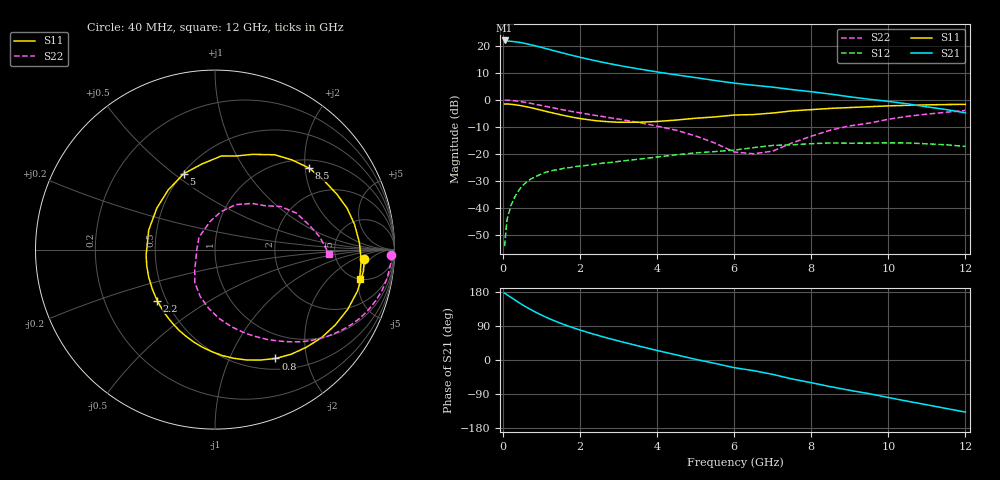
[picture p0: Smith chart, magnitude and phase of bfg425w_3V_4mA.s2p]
! Filename: 34bfg425.001
! BFG425W Field C1
! V1=8.204E-001V,V2=3.000E+000V, I1=4.819E-005A, I2=4.000E-003A
# GHz  S  MA  R 50
!  S11  S21  S12  S22
!Freq(GHz)  Mag  Ang  Mag  Ang  Mag  Ang  Mag  Ang
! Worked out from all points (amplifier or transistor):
!   44 points, 40 MHz to 12 GHz, reference 50 ohm
!   highest |S21| = 21.9 dB at 40 MHz (marker M1)
!   |S21| within 3 dB of that: start of sweep to 1.115 GHz
!   unconditionally stable (mu >= 1): 2.635 GHz to end of sweep
!   at 700 MHz: K = 0.29, MSG = 24.9 dB, |S12| = -29.4 dB
!   at 2.4 GHz: K = 0.93, MSG = 19.1 dB, |S12| = -23.7 dB
!   at 12 GHz: K = 1.55, MAG = 1.8 dB, |S12| = -17.2 dB
!   S11 on the Smith chart (normalised r, x): 40 MHz: 10, -3; 800 MHz: 0.64, -1.50; 2.2 GHz: 0.45, -0.31; 5 GHz: 0.51, +0.54; 8.5 GHz: 1.20, +2.10; 12 GHz: 5.05, -5.07
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0.04  0.833 -3.6  12.4 176.3  0.002 70.3  0.983 -1.8
0.1  0.836 -8.2  12.11 172.5  0.006 82.3  0.982 -4.6
0.3  0.811 -24.2  11.76 159.1  0.016 74.3  0.959 -13.6
0.5  0.77 -39.6  11.21 145.8  0.026 66.0  0.916 -21.9
0.6  0.745 -47.0  10.8 139.8  0.03 61.9  0.891 -25.6
0.8  0.694 -60.9  10.02 128.6  0.037 55.0  0.836 -32.5
1.1  0.615 -80.1  8.837 113.6  0.046 46.5  0.757 -41.2
1.3  0.569 -91.8  8.099 104.8  0.05 42.0  0.709 -46.3
1.5  0.528 -103.0  7.438 96.7  0.053 38.3  0.665 -50.6
1.8  0.477 -118.9  6.569 85.7  0.057 34.0  0.607 -56.6
2.2  0.43 -138.6  5.629 72.8  0.062 29.5  0.543 -63.9
2.6  0.4 -157.5  4.89 61.0  0.068 26.1  0.489 -70.9
3  0.385 -175.4  4.302 50.1  0.073 23.0  0.44 -77.9
3.5  0.385 163.6  3.721 37.4  0.08 18.9  0.383 -86.9
4.5  0.423 127.9  2.879 13.5  0.097 9.3  0.274 -107.5
5  0.457 112.4  2.559 1.7  0.105 2.5  0.215 -121.5
6  0.523 86.0  2.027 -20.3  0.118 -10.5  0.109 -163.2
6.5  0.534 77.6  1.854 -28.1  0.131 -11.1  0.101 178.8
7.5  0.624 57.9  1.54 -50.0  0.148 -29.8  0.16 99.5
8.5  0.694 40.9  1.273 -70.4  0.16 -46.5  0.276 65.2
10.5  0.79 10.3  0.84 -108.9  0.16 -81.6  0.496 24.3
12  0.822 -11.4  0.574 -137.4  0.138 -112.7  0.635 -2.2
